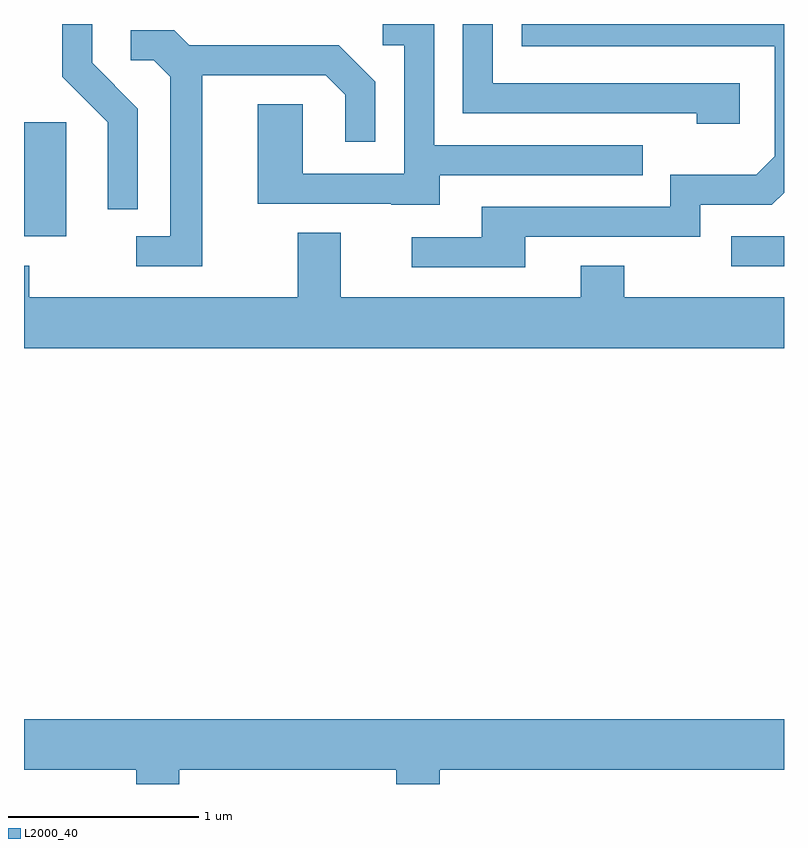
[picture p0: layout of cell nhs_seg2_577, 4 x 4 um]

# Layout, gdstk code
import gdstk
lib = gdstk.Library(unit=1e-6, precision=1e-09)
def R(c, l, rs):  # rectangles x0, y0, x1, y1
    for r in rs: c.add(gdstk.rectangle(r[:2], r[2:], *l))
def P(c, l, *ps):  # polygons
    for p in ps: c.add(gdstk.Polygon(p, *l))
L2000_40 = (2000, 40)

nhs_seg2_577 = lib.new_cell('nhs_seg2_577')
R(nhs_seg2_577, L2000_40, [(205.333,1046.526,205.611,1046.684), (201.611,1046.686,201.834,1047.284)])
P(nhs_seg2_577, L2000_40, [(202.209,1047.357),(201.969,1047.597),(201.969,1047.802),(201.811,1047.802),(201.811,1047.524),(202.051,1047.284),(202.051,1046.828),(202.209,1046.828)],
  [(205.379,1047.489),(204.079,1047.489),(204.079,1047.802),(203.921,1047.802),(203.921,1047.331),(205.151,1047.331),(205.151,1047.276),(205.379,1047.276)],
  [(204.249,1046.681),(205.169,1046.681),(205.169,1046.851),(205.547,1046.851),(205.611,1046.915),(205.611,1047.802),(204.231,1047.802),(204.231,1047.686),(205.561,1047.686),(205.561,1047.107),(205.464,1047.009),(205.011,1047.009),(205.011,1046.839),(204.021,1046.839),(204.021,1046.679),(203.653,1046.679),(203.653,1046.521),(204.249,1046.521)],
  [(203.799,1047.006),(204.868,1047.006),(204.868,1047.164),(203.769,1047.164),(203.769,1047.802),(203.498,1047.802),(203.498,1047.691),(203.611,1047.691),(203.611,1047.014),(203.079,1047.014),(203.079,1047.379),(202.841,1047.379),(202.841,1046.856),(203.545,1046.856),(203.545,1046.851),(203.799,1046.851)],
  [(202.549,1047.531),(203.199,1047.531),(203.301,1047.429),(203.301,1047.183),(203.459,1047.183),(203.459,1047.497),(203.267,1047.689),(202.482,1047.689),(202.402,1047.769),(202.173,1047.769),(202.173,1047.611),(202.294,1047.611),(202.381,1047.524),(202.381,1046.684),(202.203,1046.684),(202.203,1046.526),(202.549,1046.526)],
  [(205.611,1046.364),(204.769,1046.364),(204.769,1046.529),(204.541,1046.529),(204.541,1046.364),(203.279,1046.364),(203.279,1046.704),(203.051,1046.704),(203.051,1046.364),(201.639,1046.364),(201.639,1046.529),(201.611,1046.529),(201.611,1046.096),(205.611,1046.096)],
  [(202.429,1043.876),(203.571,1043.876),(203.571,1043.802),(203.799,1043.802),(203.799,1043.876),(205.611,1043.876),(205.611,1044.144),(201.611,1044.144),(201.611,1043.876),(202.201,1043.876),(202.201,1043.802),(202.429,1043.802)])

lib.write_gds('nhs_seg2_577.gds')
